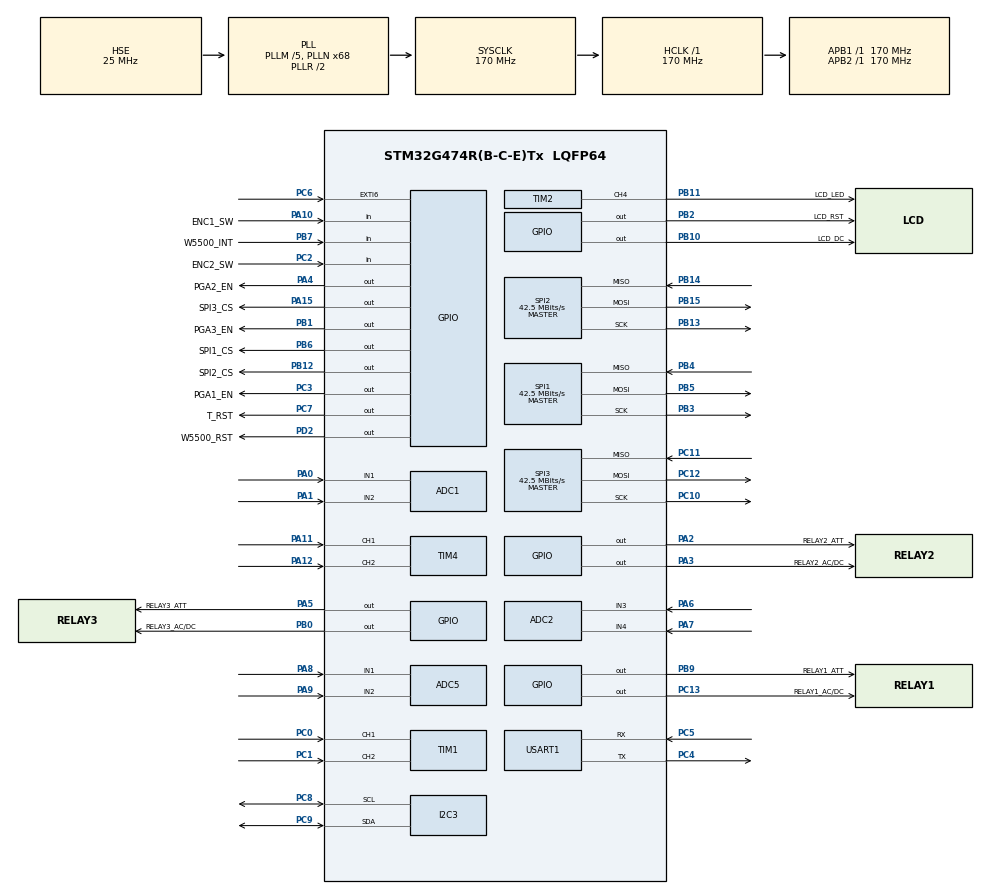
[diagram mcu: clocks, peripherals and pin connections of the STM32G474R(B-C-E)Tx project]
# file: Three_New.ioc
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ADC1.Channel-0\#ChannelRegularConversion=ADC_CHANNEL_1
ADC1.ContinuousConvMode=DISABLE
ADC1.DMAContinuousRequests=ENABLE
ADC1.ExternalTrigConv=ADC_EXTERNALTRIG_T8_TRGO2
ADC1.NbrOfConversionFlag=1
ADC1.OffsetNumber-0\#ChannelRegularConversion=ADC_OFFSET_NONE
ADC1.Overrun=ADC_OVR_DATA_OVERWRITTEN
ADC1.Rank-0\#ChannelRegularConversion=1
ADC1.SamplingTime-0\#ChannelRegularConversion=ADC_SAMPLETIME_2CYCLES_5
ADC1.SingleDiff-0\#ChannelRegularConversion=ADC_DIFFERENTIAL_ENDED
ADC1.master=1
ADC2.Channel-0\#ChannelRegularConversion=ADC_CHANNEL_3
ADC2.ContinuousConvMode=DISABLE
ADC2.DMAContinuousRequests=ENABLE
ADC2.ExternalTrigConv=ADC_EXTERNALTRIG_T8_TRGO2
ADC2.NbrOfConversionFlag=1
ADC2.OffsetNumber-0\#ChannelRegularConversion=ADC_OFFSET_NONE
ADC2.Overrun=ADC_OVR_DATA_OVERWRITTEN
ADC2.Rank-0\#ChannelRegularConversion=1
ADC2.SamplingTime-0\#ChannelRegularConversion=ADC_SAMPLETIME_2CYCLES_5
ADC2.SingleDiff-0\#ChannelRegularConversion=ADC_DIFFERENTIAL_ENDED
ADC5.Channel-1\#ChannelRegularConversion=ADC_CHANNEL_1
ADC5.ContinuousConvMode=DISABLE
ADC5.DMAContinuousRequests=ENABLE
ADC5.ExternalTrigConv=ADC_EXTERNALTRIG_T8_TRGO2
ADC5.NbrOfConversionFlag=1
ADC5.OffsetNumber-1\#ChannelRegularConversion=ADC_OFFSET_NONE
ADC5.Overrun=ADC_OVR_DATA_OVERWRITTEN
ADC5.Rank-1\#ChannelRegularConversion=1
ADC5.SamplingTime-1\#ChannelRegularConversion=ADC_SAMPLETIME_2CYCLES_5
ADC5.SingleDiff-1\#ChannelRegularConversion=ADC_DIFFERENTIAL_ENDED
Dma.ADC1.0.Direction=DMA_PERIPH_TO_MEMORY
Dma.ADC1.0.EventEnable=DISABLE
Dma.ADC1.0.Instance=DMA1_Channel1
Dma.ADC1.0.MemDataAlignment=DMA_MDATAALIGN_HALFWORD
Dma.ADC1.0.MemInc=DMA_MINC_ENABLE
Dma.ADC1.0.Mode=DMA_NORMAL
Dma.ADC1.0.PeriphDataAlignment=DMA_PDATAALIGN_HALFWORD
Dma.ADC1.0.PeriphInc=DMA_PINC_DISABLE
Dma.ADC1.0.Polarity=HAL_DMAMUX_REQ_GEN_RISING
Dma.ADC1.0.Priority=DMA_PRIORITY_LOW
Dma.ADC1.0.RequestNumber=1
Dma.ADC1.0.SignalID=NONE
Dma.ADC1.0.SyncEnable=DISABLE
Dma.ADC1.0.SyncPolarity=HAL_DMAMUX_SYNC_NO_EVENT
Dma.ADC1.0.SyncRequestNumber=1
Dma.ADC1.0.SyncSignalID=NONE
Dma.ADC2.1.Direction=DMA_PERIPH_TO_MEMORY
Dma.ADC2.1.EventEnable=DISABLE
Dma.ADC2.1.Instance=DMA1_Channel2
Dma.ADC2.1.MemDataAlignment=DMA_MDATAALIGN_HALFWORD
Dma.ADC2.1.MemInc=DMA_MINC_ENABLE
Dma.ADC2.1.Mode=DMA_NORMAL
Dma.ADC2.1.PeriphDataAlignment=DMA_PDATAALIGN_HALFWORD
Dma.ADC2.1.PeriphInc=DMA_PINC_DISABLE
Dma.ADC2.1.Polarity=HAL_DMAMUX_REQ_GEN_RISING
Dma.ADC2.1.Priority=DMA_PRIORITY_LOW
Dma.ADC2.1.RequestNumber=1
Dma.ADC2.1.SignalID=NONE
Dma.ADC2.1.SyncEnable=DISABLE
Dma.ADC2.1.SyncPolarity=HAL_DMAMUX_SYNC_NO_EVENT
Dma.ADC2.1.SyncRequestNumber=1
Dma.ADC2.1.SyncSignalID=NONE
Dma.ADC5.2.Direction=DMA_PERIPH_TO_MEMORY
Dma.ADC5.2.EventEnable=DISABLE
Dma.ADC5.2.Instance=DMA1_Channel3
Dma.ADC5.2.MemDataAlignment=DMA_MDATAALIGN_HALFWORD
Dma.ADC5.2.MemInc=DMA_MINC_ENABLE
Dma.ADC5.2.Mode=DMA_NORMAL
Dma.ADC5.2.PeriphDataAlignment=DMA_PDATAALIGN_HALFWORD
Dma.ADC5.2.PeriphInc=DMA_PINC_DISABLE
Dma.ADC5.2.Polarity=HAL_DMAMUX_REQ_GEN_RISING
Dma.ADC5.2.Priority=DMA_PRIORITY_LOW
Dma.ADC5.2.RequestNumber=1
Dma.ADC5.2.SignalID=NONE
Dma.ADC5.2.SyncEnable=DISABLE
Dma.ADC5.2.SyncPolarity=HAL_DMAMUX_SYNC_NO_EVENT
Dma.ADC5.2.SyncRequestNumber=1
Dma.ADC5.2.SyncSignalID=NONE
Dma.Request0=ADC1
Dma.Request1=ADC2
Dma.Request2=ADC5
Dma.Request3=SPI2_TX
Dma.Request4=SPI3_TX
Dma.SPI2_TX.3.Direction=DMA_MEMORY_TO_PERIPH
Dma.SPI2_TX.3.EventEnable=DISABLE
Dma.SPI2_TX.3.Instance=DMA1_Channel4
Dma.SPI2_TX.3.MemDataAlignment=DMA_MDATAALIGN_BYTE
Dma.SPI2_TX.3.MemInc=DMA_MINC_ENABLE
Dma.SPI2_TX.3.Mode=DMA_NORMAL
Dma.SPI2_TX.3.PeriphDataAlignment=DMA_PDATAALIGN_BYTE
Dma.SPI2_TX.3.PeriphInc=DMA_PINC_DISABLE
Dma.SPI2_TX.3.Polarity=HAL_DMAMUX_REQ_GEN_RISING
Dma.SPI2_TX.3.Priority=DMA_PRIORITY_LOW
Dma.SPI2_TX.3.RequestNumber=1
Dma.SPI2_TX.3.SignalID=NONE
Dma.SPI2_TX.3.SyncEnable=DISABLE
Dma.SPI2_TX.3.SyncPolarity=HAL_DMAMUX_SYNC_NO_EVENT
Dma.SPI2_TX.3.SyncRequestNumber=1
Dma.SPI2_TX.3.SyncSignalID=NONE
Dma.SPI3_TX.4.Direction=DMA_MEMORY_TO_PERIPH
Dma.SPI3_TX.4.EventEnable=DISABLE
Dma.SPI3_TX.4.Instance=DMA2_Channel1
Dma.SPI3_TX.4.MemDataAlignment=DMA_MDATAALIGN_BYTE
Dma.SPI3_TX.4.MemInc=DMA_MINC_ENABLE
Dma.SPI3_TX.4.Mode=DMA_NORMAL
Dma.SPI3_TX.4.PeriphDataAlignment=DMA_PDATAALIGN_BYTE
Dma.SPI3_TX.4.PeriphInc=DMA_PINC_DISABLE
Dma.SPI3_TX.4.Polarity=HAL_DMAMUX_REQ_GEN_RISING
Dma.SPI3_TX.4.Priority=DMA_PRIORITY_LOW
Dma.SPI3_TX.4.RequestNumber=1
Dma.SPI3_TX.4.SignalID=NONE
Dma.SPI3_TX.4.SyncEnable=DISABLE
Dma.SPI3_TX.4.SyncPolarity=HAL_DMAMUX_SYNC_NO_EVENT
Dma.SPI3_TX.4.SyncRequestNumber=1
Dma.SPI3_TX.4.SyncSignalID=NONE
I2C3.Timing=0x40B285C2
Mcu.Family=STM32G4
Mcu.Name=STM32G474R(B-C-E)Tx
Mcu.Package=LQFP64
NVIC.DMA1_Channel1_IRQn=true\:1\:0\:true\:false\:true\:false\:true\:true
NVIC.DMA1_Channel2_IRQn=true\:1\:0\:true\:false\:true\:false\:true\:true
NVIC.DMA1_Channel3_IRQn=true\:1\:0\:true\:false\:true\:false\:true\:true
NVIC.DMA1_Channel4_IRQn=true\:1\:0\:true\:false\:true\:false\:true\:true
NVIC.DMA2_Channel1_IRQn=true\:4\:0\:true\:false\:true\:false\:true\:true
NVIC.EXTI9_5_IRQn=true\:5\:0\:true\:false\:true\:true\:true\:true
NVIC.PriorityGroup=NVIC_PRIORITYGROUP_4
PA0.Mode=IN1-Differential
PA0.Signal=ADC1_IN1
PA1.Mode=IN1-Differential
PA1.Signal=ADC1_IN2
PA10.GPIO_Label=ENC1_SW
PA10.Signal=GPIO_Input
PA11.Signal=S_TIM4_CH1
PA12.Signal=S_TIM4_CH2
PA13.Mode=Serial_Wire
PA13.Signal=SYS_JTMS-SWDIO
PA14.Mode=Serial_Wire
PA14.Signal=SYS_JTCK-SWCLK
PA15.GPIO_Label=SPI3_CS
PA15.Signal=GPIO_Output
PA2.GPIO_Label=RELAY2_ATT
PA2.Signal=GPIO_Output
PA3.GPIO_Label=RELAY2_AC/DC
PA3.Signal=GPIO_Output
PA4.GPIO_Label=PGA2_EN
PA4.Signal=GPIO_Output
PA5.GPIO_Label=RELAY3_ATT
PA5.Signal=GPIO_Output
PA6.Mode=IN3-Differential
PA6.Signal=ADC2_IN3
PA7.Mode=IN3-Differential
PA7.Signal=ADC2_IN4
PA8.Mode=IN1-Differential
PA8.Signal=ADC5_IN1
PA9.Mode=IN1-Differential
PA9.Signal=ADC5_IN2
PB0.GPIO_Label=RELAY3_AC/DC
PB0.Signal=GPIO_Output
PB1.GPIO_Label=PGA3_EN
PB1.Signal=GPIO_Output
PB10.GPIO_Label=LCD_DC
PB10.Signal=GPIO_Output
PB11.GPIO_Label=LCD_LED
PB11.Signal=S_TIM2_CH4
PB12.GPIO_Label=SPI2_CS
PB12.Signal=GPIO_Output
PB13.GPIO_Speed=GPIO_SPEED_FREQ_VERY_HIGH
PB13.Mode=Full_Duplex_Master
PB13.Signal=SPI2_SCK
PB14.GPIO_Speed=GPIO_SPEED_FREQ_VERY_HIGH
PB14.Mode=Full_Duplex_Master
PB14.Signal=SPI2_MISO
PB15.GPIO_Speed=GPIO_SPEED_FREQ_VERY_HIGH
PB15.Mode=Full_Duplex_Master
PB15.Signal=SPI2_MOSI
PB2.GPIO_Label=LCD_RST
PB2.Signal=GPIO_Output
PB3.GPIO_Speed=GPIO_SPEED_FREQ_VERY_HIGH
PB3.Mode=Full_Duplex_Master
PB3.Signal=SPI1_SCK
PB4.GPIO_Speed=GPIO_SPEED_FREQ_VERY_HIGH
PB4.Mode=Full_Duplex_Master
PB4.Signal=SPI1_MISO
PB5.GPIO_Speed=GPIO_SPEED_FREQ_VERY_HIGH
PB5.Mode=Full_Duplex_Master
PB5.Signal=SPI1_MOSI
PB6.GPIO_Label=SPI1_CS
PB6.Signal=GPIO_Output
PB7.GPIO_Label=W5500_INT
PB7.Signal=GPIO_Input
PB9.GPIO_Label=RELAY1_ATT
PB9.Signal=GPIO_Output
PC0.Signal=S_TIM1_CH1
PC1.Signal=S_TIM1_CH2
PC10.GPIO_Speed=GPIO_SPEED_FREQ_VERY_HIGH
PC10.Mode=Full_Duplex_Master
PC10.Signal=SPI3_SCK
PC11.GPIO_Speed=GPIO_SPEED_FREQ_VERY_HIGH
PC11.Mode=Full_Duplex_Master
PC11.Signal=SPI3_MISO
PC12.GPIO_Speed=GPIO_SPEED_FREQ_VERY_HIGH
PC12.Mode=Full_Duplex_Master
PC12.Signal=SPI3_MOSI
PC13.GPIO_Label=RELAY1_AC/DC
PC13.Signal=GPIO_Output
PC14-OSC32_IN.Mode=LSE-External-Oscillator
PC14-OSC32_IN.Signal=RCC_OSC32_IN
PC15-OSC32_OUT.Mode=LSE-External-Oscillator
PC15-OSC32_OUT.Signal=RCC_OSC32_OUT
PC2.GPIO_Label=ENC2_SW
PC2.Signal=GPIO_Input
PC3.GPIO_Label=PGA1_EN
PC3.Signal=GPIO_Output
PC4.Mode=Asynchronous
PC4.Signal=USART1_TX
PC5.Mode=Asynchronous
PC5.Signal=USART1_RX
PC6.Signal=GPXTI6
PC7.GPIO_Label=T_RST
PC7.Signal=GPIO_Output
PC8.Mode=I2C
PC8.Signal=I2C3_SCL
PC9.Mode=I2C
PC9.Signal=I2C3_SDA
PD2.GPIO_Label=W5500_RST
PD2.Signal=GPIO_Output
PF0-OSC_IN.Mode=HSE-External-Oscillator
PF0-OSC_IN.Signal=RCC_OSC_IN
PF1-OSC_OUT.Mode=HSE-External-Oscillator
PF1-OSC_OUT.Signal=RCC_OSC_OUT
ProjectManager.HeapSize=0x200
ProjectManager.StackSize=0x400
ProjectManager.TargetToolchain=MDK-ARM V5.27
RCC.ADC12Freq_Value=170000000
RCC.ADC345Freq_Value=170000000
RCC.AHBFreq_Value=170000000
RCC.APB1Freq_Value=170000000
RCC.APB1TimFreq_Value=170000000
RCC.APB2Freq_Value=170000000
RCC.APB2TimFreq_Value=170000000
RCC.CortexFreq_Value=170000000
RCC.EXTERNAL_CLOCK_VALUE=12288000
RCC.HCLKFreq_Value=170000000
RCC.HSE_VALUE=25000000
RCC.HSI48_VALUE=48000000
RCC.HSI_VALUE=16000000
RCC.PLLM=RCC_PLLM_DIV5
RCC.PLLN=68
RCC.PLLSourceVirtual=RCC_PLLSOURCE_HSE
RCC.SYSCLKFreq_VALUE=170000000
RCC.SYSCLKSource=RCC_SYSCLKSOURCE_PLLCLK
RCC.USBFreq_Value=170000000
RCC.VCOOutputFreq_Value=340000000
SH.S_TIM1_CH1.0=TIM1_CH1,Encoder_Interface
SH.S_TIM1_CH2.0=TIM1_CH2,Encoder_Interface
SH.S_TIM2_CH4.0=TIM2_CH4,PWM Generation4 CH4
SH.S_TIM4_CH1.0=TIM4_CH1,Encoder_Interface
SH.S_TIM4_CH2.0=TIM4_CH2,Encoder_Interface
SPI1.BaudRatePrescaler=SPI_BAUDRATEPRESCALER_4
SPI1.CalculateBaudRate=42.5 MBits/s
SPI1.Direction=SPI_DIRECTION_2LINES
SPI1.Mode=SPI_MODE_MASTER
SPI1.VirtualType=VM_MASTER
SPI2.BaudRatePrescaler=SPI_BAUDRATEPRESCALER_4
SPI2.CalculateBaudRate=42.5 MBits/s
SPI2.Direction=SPI_DIRECTION_2LINES
SPI2.Mode=SPI_MODE_MASTER
SPI2.VirtualType=VM_MASTER
SPI3.BaudRatePrescaler=SPI_BAUDRATEPRESCALER_4
SPI3.CalculateBaudRate=42.5 MBits/s
SPI3.Direction=SPI_DIRECTION_2LINES
SPI3.Mode=SPI_MODE_MASTER
SPI3.VirtualType=VM_MASTER
TIM2.Channel-PWM\ Generation4\ CH4=TIM_CHANNEL_4
TIM2.PeriodNoDither=999
TIM2.Prescaler=169
TIM8.PeriodNoDither=849
TIM8.TIM_MasterOutputTrigger2=TIM_TRGO2_UPDATE
USART1.VirtualMode-Asynchronous=VM_ASYNC
VP_SYS_VS_DBSignals.Mode=DisableDeadBatterySignals
VP_TIM2_VS_ClockSourceINT.Mode=Internal
VP_TIM8_VS_ClockSourceINT.Mode=Internal
board=custom

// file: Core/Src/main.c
/* USER CODE BEGIN Header */
/**
  ******************************************************************************
  * @file           : main.c
  * @brief          : Main program body
  ******************************************************************************
  * @attention
  *
  * Copyright (c) 2026 STMicroelectronics.
  * All rights reserved.
  *
  * This software is licensed under terms that can be found in the LICENSE file
  * in the root directory of this software component.
  * If no LICENSE file comes with this software, it is provided AS-IS.
  *
  ******************************************************************************
  */
/* USER CODE END Header */
#include "main.h"
#include "adc.h"
#include "dma.h"
#include "i2c.h"
#include "spi.h"
#include "tim.h"
#include "usart.h"
#include "gpio.h"

/* USER CODE BEGIN Includes */
#include "math.h"
#include <stdio.h>                          /* snprintf */
#include "../../Drivers/debug_print/debug_print.h"
#include "../../Drivers/W5500/w5500_network.h"
#include "../../Drivers/AFE/afe.h"          /* [P0-6] 模拟前端控制 */
#include "../../Drivers/App/sample_clock.h"  /* [P0-5] 采样率档位 */
#include "../../Drivers/App/scope_acq.h"     /* 三路交替单次采集 */
#include "../../Drivers/App/param_store.h"
#include "../../Drivers/App/log_store.h"
#include "../../Drivers/Flash/w25qxx.h"   /* W25Q16 参数备份区 */
/* USER CODE END Includes */

/* USER CODE BEGIN PV */
uint32_t breath_tick = 0;
volatile uint8_t g_system_ready = 0;

/* ─── [P0-2][P0-4] 高速采集 Ping-Pong 双缓冲 ───────────────────────────
 *  三路 ADC 现为【单通道真差分】, 由 scope_acq 模块按需单次采集 N 点
 *  缓冲位于 scope_acq.c: 3 x 8192 x 2B = 48 KB
 * ──────────────────────────────────────────────────────────────────── */
volatile uint8_t g_capture_mode = 0;

/* ─── [P0-10] 增益与标定系数 (标称值, 需实测标定后替换) ───
 *  总增益 = INA128 增益 x FDA 增益
 *      ×2  档: 2.002  x 1.9606 = 3.925
 *      ×20 档: 20.157 x 1.9606 = 39.52
 *  电压换算: V_in = raw x VREF / 2047 / 总增益
 *  见《技术方案与实施细节总文档》§3.1
 * ─────────────────────────────────────────────────────────── */
#define ADC_VREF_V      3.0f
#define ADC_HALF_SCALE  2047.0f      /* 12-bit 差分满量程 (非 32767!) */
volatile float   g_total_gain   = 3.925f;   /* 当前总增益 */
volatile int32_t g_offset_code  = 0;        /* 零点校正量 (标定得到) */
/* USER CODE END PV */

void SystemClock_Config(void);

int main(void)
{

  /* MCU Configuration--------------------------------------------------------*/

  /* Reset of all peripherals, Initializes the Flash interface and the Systick. */
  HAL_Init();

  /* USER CODE BEGIN Init */
  Debug_Print("\r\n==================================================\r\n");
  Debug_Print("SYSTEM CRITICAL BOOT / RESET DETECTED\r\n");
  Debug_Print("==================================================\r\n\r\n");
  /* USER CODE END Init */

  /* Configure the system clock */
  SystemClock_Config();

  /* Initialize all configured peripherals */
  MX_GPIO_Init();
  MX_DMA_Init();
  MX_ADC1_Init();
  MX_ADC2_Init();
  MX_ADC5_Init();
  MX_I2C3_Init();
  MX_SPI1_Init();
  MX_SPI2_Init();
  MX_SPI3_Init();
  MX_TIM2_Init();
  MX_TIM4_Init();
  MX_TIM1_Init();
  MX_USART1_UART_Init();
  MX_TIM8_Init();
  /* USER CODE BEGIN 2 */

  /* ═══════════════════════════════════════════════════════════════
   * [P0-6] 模拟前端初始化 —— 必须在 MX_GPIO_Init() 之后、采集启动之前
   *  上电安全默认态: DC 耦合 + 1x 衰减 + ×2.00 增益
   *  （继电器极性: 高=吸合; 复位默认低=全释放）
   * ═══════════════════════════════════════════════════════════════ */
  AFE_Init();

  /* ── 启动背光 PWM ── */
  HAL_TIM_PWM_Start(&htim2, TIM_CHANNEL_4);

	/* ── 启动编码器（TIM4/TIM1 双编码器） ── */
	HAL_TIM_Encoder_Start(&htim4, TIM_CHANNEL_ALL);
	HAL_TIM_Encoder_Start(&htim1, TIM_CHANNEL_ALL);

	/* ── 启动系统状态回传（USART1 DMA 非阻塞发送，默认 50ms/帧） ── */
	SysStatus_Init();

    __enable_irq();

    /* ═══════════════════════════════════════════════════════════
	 * W5500 网络配置（可在此修改 IP/网关/端口）
	 * ═══════════════════════════════════════════════════════════ */
	{
		wiz_NetInfo g_net_config = {
			.mac  = {0x00, 0x08, 0xDC, 0x01, 0x02, 0x03},
			.ip   = {192, 168, 57, 200},
			.sn   = {255, 255, 255, 0},
			.gw   = {192, 168, 57, 1},
			.dns  = {8, 8, 8, 8},
			.dhcp = NETINFO_STATIC
		};
		uint8_t remote_ip[] = {192, 168, 57, 100};  /* UDP 目标 PC/树莓派 IP */

		W5500_Network_Init(&g_net_config);         /* 1. 硬件复位 + 8KB SRAM 划分 */
		W5500_HighSpeed_UDP_Init(5001, remote_ip, 8080);  /* 2. Socket1 UDP 数据泵 */
		W5500_TCP_Server_Init(5000);               /* 3. Socket0 TCP Server */

		g_net_mode = NET_MODE_TCP_SERVER;          /* 启动 TCP 命令解析模式 */
	}

	/* ═══════════════════════════════════════════════════════════
	 * [P0-5] 采样率档位初始化（TIM8 TRGO2）
	 *  TIM8 已由 MX_TIM8_Init 配置为 PSC=0 / TRGO2=UPDATE
	 *  这里设置默认档位 ar 启动计数器, MOE 由采集流程控制
	 * ═══════════════════════════════════════════════════════════ */
	SampleClock_Init();

	/* ═══════════════════════════════════════════════════════════
	 * 采集子系统初始化（命令-应答式单次采集）
	 *  三路 ADC 由 TIM8 的 UPDATE / CC1 / OC2REF 分别触发,
	 *  相位 0 / 1/3 / 2/3; 上位机下发 CAPTURE 后采 N 点再回传。
	 * ═══════════════════════════════════════════════════════════ */
	{
		ScopeAcq_Init();
		Debug_Print("[ACQ] 3-phase interleaved acquisition ready\r\n");
		/* 上电自检: 顺便用 DWT 周期数反算真实采样率, 能查出"触发被丢一半" */
		(void)ScopeAcq_SelfTest();
		/* 参数备份区: 把 W25Q16 里的 eq/config/calib/excite blob 读进 RAM，
		   上位机连上后用 PARAM_INFO/PARAM_LOAD 取回（重刷系统也不丢标定）。 */
		{
			uint8_t  wid[3] = {0, 0, 0};
			uint32_t plen;
			char     pdbg[96];
			W25Qxx_ReadID(wid);   /* 认片：EF 40 15 = W25Q16 */
			plen = ParamStore_Init();
			snprintf(pdbg, sizeof(pdbg),
			         "[PARAM] w25q %02X %02X %02X, blob = %lu bytes\r\n",
			         wid[0], wid[1], wid[2], (unsigned long)plen);
			Debug_Print(pdbg);
			{
				uint32_t lseq = LogStore_Init();
				snprintf(pdbg, sizeof(pdbg),
				         "[LOG] store ready, seq = %lu\r\n",
				         (unsigned long)lseq);
				Debug_Print(pdbg);
			}
		}
		/* 时钟探针（默认关闭，见 scope_acq.h 的 SCOPE_BOOT_PROBE）:
		   扫 P=4..16 打印实测采样率，用于核对 ADC 时钟树。 */
#if SCOPE_BOOT_PROBE
		ScopeAcq_ClockProbe();
#endif
	}

	g_system_ready = 1;

  /* USER CODE END 2 */

  /* Infinite loop */
  /* USER CODE BEGIN WHILE */
  while (1)
  {
    /* ── 网络轮询：每 1 ms 一次 ──────────────────────────────────
     *  命令解析、采集完成回传、Socket0 保活都在 W5500_Poll() 内完成。
     *  采集本身由 TIM8 + DMA 自主完成, CPU 不参与搬运。
     * ──────────────────────────────────────────────────────────── */
    {
        static uint32_t last_poll_ms = 0;
        uint32_t now = HAL_GetTick();
        if (now != last_poll_ms)
        {
            last_poll_ms = now;
            W5500_Poll();
        }
    }

    /* ── Ring Buffer 积压包重试发送（非阻塞） ── */
    w5500_udp_retry_pending();

    /* ── ADC 状态监控（每 5 秒打印一次，3 路差分） ── */
    {
        static uint32_t last_adc_tick = 0;
        if (HAL_GetTick() - last_adc_tick >= 5000) {
            /* 三路 ADC 各 1 个差分通道, 每个样本就是一路差分值
             * 12-bit 差分: 二进制补码, 范围 -2047..+2047 */
            uint16_t tmp[3] = {0, 0, 0};
            int16_t d1 = 0, d2 = 0, d3 = 0;
            if (ScopeAcq_Total() >= 3u)
            {
                (void)ScopeAcq_Fill(0, tmp, 3);
                d1 = (int16_t)tmp[0];   /* ADC1 = CH1 (PA0/PA1) */
                d2 = (int16_t)tmp[1];   /* ADC2 = CH2 (PA6/PA7) */
                d3 = (int16_t)tmp[2];   /* ADC5 = CH3 (PA8/PA9) */
            }
            uint32_t sent = 0, drop = 0;
            uint16_t pend = 0;
            w5500_burst_stats(&sent, &drop, &pend);

            uint8_t  tcp_sr    = W5500_TcpState();
            uint8_t  peer[4]   = {0, 0, 0, 0};
            uint16_t peer_port = 0;
            W5500_TcpPeer(peer, &peer_port);

            char dbg[288];
            snprintf(dbg, sizeof(dbg),
                "[ADC] CH1:%6d CH2:%6d CH3:%6d | fs=%lu gear=%u | TCP sr=%02X peer=%u.%u.%u.%u:%u\r\n"
                "[TX ] sent=%lu drop=%lu pend=%u\r\n",
                (int)d1, (int)d2, (int)d3,
                (unsigned long)g_fs_hz, (unsigned)g_fs_index,
                (unsigned)tcp_sr,
                (unsigned)peer[0], (unsigned)peer[1], (unsigned)peer[2], (unsigned)peer[3],
                (unsigned)peer_port,
                (unsigned long)sent, (unsigned long)drop, (unsigned)pend);
            Debug_Print(dbg);
            last_adc_tick = HAL_GetTick();
        }
    }
    /* USER CODE END WHILE */

  }
}

void SystemClock_Config(void)
{
  RCC_OscInitTypeDef RCC_OscInitStruct = {0};
  RCC_ClkInitTypeDef RCC_ClkInitStruct = {0};

  /** Configure the main internal regulator output voltage
  */
  HAL_PWREx_ControlVoltageScaling(PWR_REGULATOR_VOLTAGE_SCALE1_BOOST);

  /** Initializes the RCC Oscillators according to the specified parameters
  * in the RCC_OscInitTypeDef structure.
  */
  RCC_OscInitStruct.OscillatorType = RCC_OSCILLATORTYPE_HSE;
  RCC_OscInitStruct.HSEState = RCC_HSE_ON;
  RCC_OscInitStruct.PLL.PLLState = RCC_PLL_ON;
  RCC_OscInitStruct.PLL.PLLSource = RCC_PLLSOURCE_HSE;
  RCC_OscInitStruct.PLL.PLLM = RCC_PLLM_DIV5;
  RCC_OscInitStruct.PLL.PLLN = 68;
  RCC_OscInitStruct.PLL.PLLP = RCC_PLLP_DIV6;   /* [CLK] 340/6 = 56.67 MHz -> ADC 异步时钟 (VCO=340MHz) */
  RCC_OscInitStruct.PLL.PLLQ = RCC_PLLQ_DIV2;
  RCC_OscInitStruct.PLL.PLLR = RCC_PLLR_DIV2;
  if (HAL_RCC_OscConfig(&RCC_OscInitStruct) != HAL_OK)
  {
    Error_Handler();
  }

  /** Initializes the CPU, AHB and APB buses clocks
  */
  RCC_ClkInitStruct.ClockType = RCC_CLOCKTYPE_HCLK|RCC_CLOCKTYPE_SYSCLK
                              |RCC_CLOCKTYPE_PCLK1|RCC_CLOCKTYPE_PCLK2;
  RCC_ClkInitStruct.SYSCLKSource = RCC_SYSCLKSOURCE_PLLCLK;
  RCC_ClkInitStruct.AHBCLKDivider = RCC_SYSCLK_DIV1;
  RCC_ClkInitStruct.APB1CLKDivider = RCC_HCLK_DIV1;
  RCC_ClkInitStruct.APB2CLKDivider = RCC_HCLK_DIV1;

  if (HAL_RCC_ClockConfig(&RCC_ClkInitStruct, FLASH_LATENCY_4) != HAL_OK)
  {
    Error_Handler();
  }
}

/* USER CODE BEGIN 4 */
/* 半主机禁用已移至 retarget.c */
/* USER CODE END 4 */

void Error_Handler(void)
{
  __disable_irq();
  while (1)
  {
  }
}
